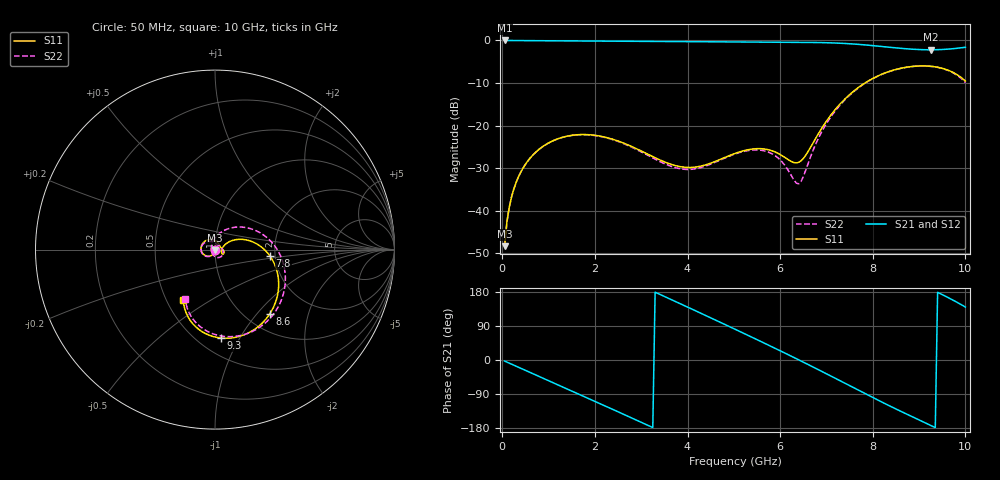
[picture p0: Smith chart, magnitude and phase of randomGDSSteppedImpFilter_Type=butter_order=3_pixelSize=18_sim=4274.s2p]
! freq	dB(S11)	phase(S11)	dB(S12)	phase(S12)
!  dB(S21)	phase(S21)	dB(S22)	phase(S22)
!S-par simulation data
#  GHz  S  DB  R 50
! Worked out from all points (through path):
!   200 points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, 50 MHz to 10 GHz, reference 50 ohm
!   highest |S21| = 0.00 dB at 50 MHz (marker M1); lowest = -2.2 dB at 9.25 GHz (marker M2)
!   group delay of S21, straight-line fit = 161 ps
!   lowest |S11| = -48.3 dB at 50 MHz (marker M3), VSWR 1.01, Z = 50 - j0.384 ohm
!   |S11| at or under -10 dB: start of sweep to 7.83 GHz
!   |S22| runs from -48.3 to -6.0 dB; largest |S21 - S12| = 0
!   S11 on the Smith chart (normalised r, x): 50 MHz: 1.00, -0.01; 7.8 GHz: 1.88, -0.15; 8.6 GHz: 1.28, -1.17; 9.3 GHz: 0.64, -0.84; 10 GHz: 0.61, -0.39
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0.05  -48.30 -88.5  -0.00 -2.8  -0.00 -2.8  -48.30 -88.3
0.1  -42.61 -92.9  -0.01 -5.5  -0.01 -5.5  -42.61 -92.5
0.2  -36.74 -100.1  -0.02 -11.0  -0.02 -11.0  -36.74 -99.4
0.5  -29.08 -118.6  -0.04 -27.4  -0.04 -27.4  -29.08 -116.7
1.15  -23.29 -156.5  -0.10 -62.8  -0.10 -62.8  -23.30 -151.6
1.75  -22.09 168.4  -0.14 -95.5  -0.14 -95.5  -22.12 177.2
2.2  -22.67 141.3  -0.16 -120.2  -0.16 -120.2  -22.73 154.3
2.65  -24.24 113.0  -0.19 -144.9  -0.19 -144.9  -24.36 132.0
3.4  -28.05 63.5  -0.24 173.4  -0.24 173.4  -28.42 95.2
3.85  -29.65 37.3  -0.27 148.1  -0.27 148.1  -30.14 69.7
4.3  -29.48 19.1  -0.30 122.7  -0.30 122.7  -29.81 38.4
5.05  -26.44 -5.6  -0.35 79.8  -0.35 79.8  -26.57 -15.1
5.8  -25.82 -29.2  -0.39 36.2  -0.39 36.2  -26.48 -69.7
6.4  -28.62 -2.1  -0.43 0.5  -0.43 0.5  -33.67 -177.2
6.7  -24.27 25.9  -0.46 -17.8  -0.46 -17.8  -26.09 102.0
7.3  -14.85 17.5  -0.66 -55.2  -0.66 -55.2  -15.09 45.5
7.8  -10.21 -6.7  -1.02 -86.7  -1.02 -86.7  -10.28 10.6
8.35  -7.30 -36.2  -1.59 -120.3  -1.59 -120.3  -7.32 -24.4
8.6  -6.55 -49.5  -1.85 -135.1  -1.85 -135.1  -6.57 -39.4
9.25  -6.07 -83.5  -2.20 -172.6  -2.20 -172.6  -6.08 -77.0
9.3  -6.13 -86.1  -2.19 -175.5  -2.19 -175.5  -6.14 -79.9
10  -9.54 -121.9  -1.61 139.7  -1.61 139.7  -9.90 -121.1
